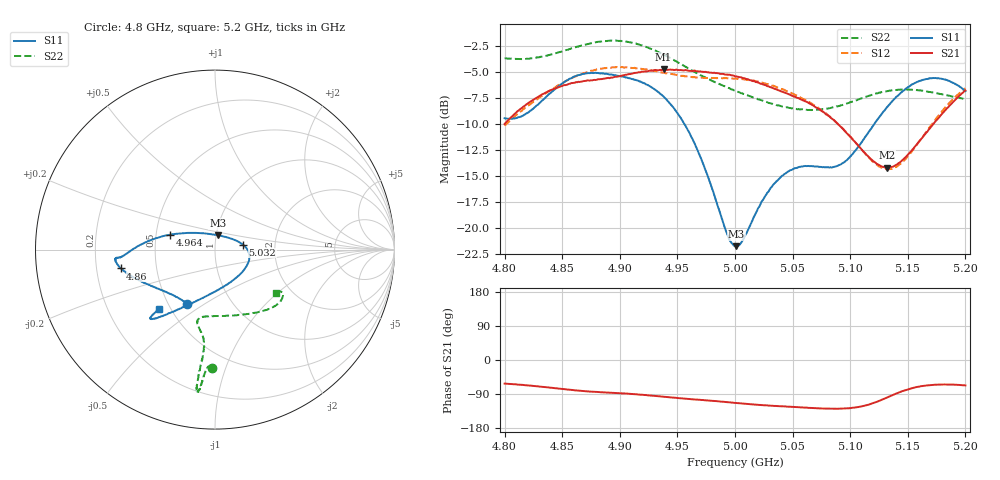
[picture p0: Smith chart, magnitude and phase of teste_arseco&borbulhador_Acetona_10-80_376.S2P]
! Network Analyzer HP8722D
! Hewlett-Packard
! Data name: Linha & Wilkinson
! Saver's name: Rodrigo Anjos
! Comments: Teste da utilização de aquisição
! continua pelo VNA HP8722D
! Time and date: 17/4/2025 17:29
!  Frequency  S11  S21  S12  S22
# HZ  S  MA R 50
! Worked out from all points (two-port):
!   401 points, 4.8 GHz to 5.2 GHz, reference 50 ohm
!   highest |S21| = -4.72 dB at 4.938 GHz (marker M1); lowest = -14.2 dB at 5.132 GHz (marker M2)
!   |S21| within 3 dB of the highest: 4.824 GHz to 5.06 GHz (235.8 MHz wide, 4.77 % of centre); 5.190583 GHz to end of sweep
!   lowest |S11| = -21.7 dB at 5.001 GHz (marker M3), VSWR 1.18, Z = 50.9 + j8.23 ohm
!   |S11| at or under -10 dB: 4.956 GHz to 5.121 GHz (164.6 MHz wide, 3.27 % of centre)
!   |S22| runs from -8.6 to -1.9 dB; largest |S21 - S12| = 0.87
!   S11 on the Smith chart (normalised r, x): 4.8 GHz: 0.62, -0.42; 4.86 GHz: 0.30, -0.09; 4.964 GHz: 0.59, +0.11; 5.032 GHz: 1.37, +0.08; 5.2 GHz: 0.43, -0.36
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4.8e9  0.3378 -117.2  0.3169 -62.3  0.3114 -176.6  0.6577 -91.5
4.818e9  0.3534 -136.4  0.3898 -66.5  0.3801 -176.3  0.6516 -93.1
4.86e9  0.5358 -168.7  0.5005 -79.5  0.5326 -179.8  0.7368 -95.5
4.867e9  0.5504 -171.4  0.5083 -81.5  0.5518 178.9  0.7572 -95.8
4.899e9  0.54 -175.3  0.5384 -87.7  0.593 172.8  0.7961 -97.2
4.934e9  0.4496 179.1  0.5759 -95.8  0.5668 169.8  0.7 -97.5
4.938e9  0.4298 177.3  0.5806 -97.0  0.5598 169.8  0.6842 -97.2
4.964e9  0.2622 161.5  0.5719 -103.9  0.5326 171.7  0.5683 -96.4
4.993e9  0.09432 111.1  0.5487 -111.2  0.5266 174.1  0.4765 -98.8
5e9  0.08236 83.7  0.5383 -113.2  0.5247 174.2  0.4585 -100.2
5.001e9  0.08179 79.4  0.5374 -113.4  0.5247 174.0  0.457 -100.5
5.006e9  0.08621 59.6  0.53 -114.9  0.5217 174.1  0.4461 -101.5
5.032e9  0.1582 10.0  0.4742 -120.6  0.485 172.9  0.3972 -103.4
5.047e9  0.1882 -4.2  0.4407 -123.3  0.4528 172.2  0.3788 -99.5
5.067e9  0.1986 -25.3  0.3914 -126.7  0.3962 172.0  0.3702 -88.2
5.096e9  0.2102 -75.7  0.2902 -128.0  0.2919 174.9  0.3965 -65.7
5.119e9  0.3058 -110.2  0.2124 -114.8  0.2102 -170.0  0.4383 -50.6
5.132e9  0.3819 -120.6  0.1957 -99.0  0.1922 -152.5  0.4556 -44.1
5.134e9  0.3937 -121.9  0.196 -96.3  0.192 -149.4  0.4589 -43.4
5.146e9  0.4581 -127.3  0.2139 -81.5  0.2089 -132.1  0.4651 -38.9
5.168e9  0.5244 -132.4  0.297 -67.0  0.301 -113.2  0.4526 -33.5
5.2e9  0.4567 -133.4  0.4599 -67.1  0.4712 -109.3  0.4173 -35.1
